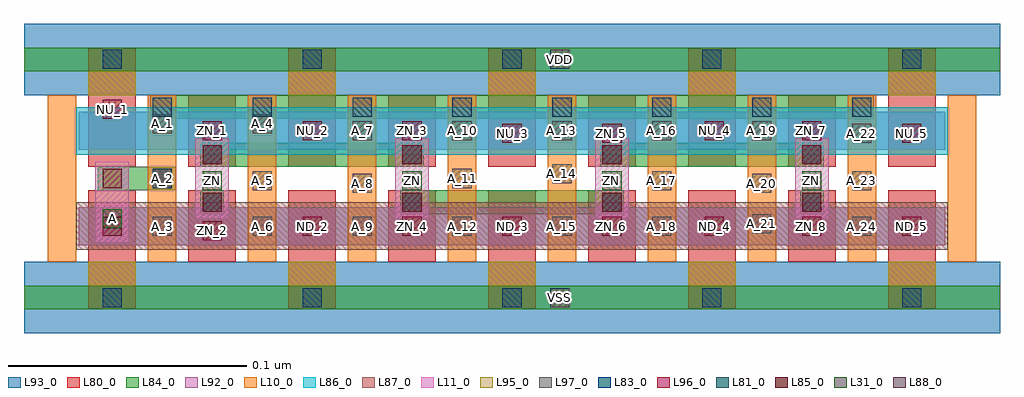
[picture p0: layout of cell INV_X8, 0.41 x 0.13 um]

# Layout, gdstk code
import gdstk
lib = gdstk.Library(unit=1e-6, precision=1e-09)
def R(c, l, rs):  # rectangles x0, y0, x1, y1
    for r in rs: c.add(gdstk.rectangle(r[:2], r[2:], *l))
def A(c, l, x, y, w, h, nx, ny, dx, dy):  # array of equal rectangles
    R(c, l, [(x+i*dx, y+j*dy, x+i*dx+w, y+j*dy+h) for i in range(nx) for j in range(ny)])
L10_0 = (10, 0)
L11_0 = (11, 0)
L31_0 = (31, 0)
L80_0 = (80, 0)
L81_0 = (81, 0)
L83_0 = (83, 0)
L84_0 = (84, 0)
L85_0 = (85, 0)
L86_0 = (86, 0)
L87_0 = (87, 0)
L88_0 = (88, 0)
L92_0 = (92, 0)
L93_0 = (93, 0)
L95_0 = (95, 0)
L96_0 = (96, 0)
L97_0 = (97, 0)

inv_x8 = lib.new_cell('INV_X8')
A(inv_x8, L10_0, -0.027, 0.015, 0.012, 0.07, 10, 1, 0.042, 0)
A(inv_x8, L11_0, 0.035, 0.033, 0.014, 0.034, 4, 1, 0.084, 0)
R(inv_x8, L11_0, [(-0.007,0.023,0.007,0.057)])
A(inv_x8, L31_0, 0.038, 0.045, 0.008, 0.008, 4, 1, 0.084, 0)
R(inv_x8, L31_0, [(-0.004,0.029,0.004,0.037)])
A(inv_x8, L80_0, -0.01, -0.005, 0.02, 0.03, 5, 2, 0.084, 0.08)
A(inv_x8, L80_0, -0.01, 0.015, 0.02, 0.03, 9, 2, 0.042, 0.04)
A(inv_x8, L81_0, 0.017, 0.076, 0.008, 0.008, 8, 1, 0.042, 0)
R(inv_x8, L81_0, [(0.017,0.046,0.025,0.054)])
A(inv_x8, L83_0, -0.004, -0.004, 0.008, 0.008, 5, 2, 0.084, 0.1)
A(inv_x8, L83_0, 0.038, 0.036, 0.008, 0.008, 4, 2, 0.084, 0.02)
A(inv_x8, L84_0, 0.121, 0.035, 0.031, 0.01, 4, 1, 0.021, 0)
A(inv_x8, L84_0, 0.037, 0.055, 0.031, 0.01, 4, 1, 0.021, 0)
A(inv_x8, L84_0, 0.205, 0.055, 0.031, 0.01, 4, 1, 0.021, 0)
A(inv_x8, L84_0, 0.016, 0.075, 0.031, 0.01, 14, 1, 0.021, 0)
R(inv_x8, L84_0, [(-0.037,-0.005,0.373,0.005), (0.037,0.035,0.047,0.045), (0.289,0.035,0.299,0.045), (-0.006,0.045,0.027,0.055), (-0.037,0.095,0.373,0.105)])
A(inv_x8, L85_0, 0.038, 0.036, 0.008, 0.008, 4, 2, 0.084, 0.02)
R(inv_x8, L85_0, [(-0.004,0.046,0.004,0.054)])
R(inv_x8, L86_0, [(-0.015,0.06,0.351,0.08)])
R(inv_x8, L87_0, [(-0.015,0.02,0.351,0.04)])
R(inv_x8, L88_0, [(0.184,-0.004,0.192,0.004), (0.184,0.096,0.192,0.104)])
R(inv_x8, L92_0, [(-0.014,0.022,0.35,0.038), (-0.014,0.062,0.35,0.078)])
R(inv_x8, L93_0, [(-0.037,-0.015,0.373,0.015), (-0.037,0.085,0.373,0.115)])
A(inv_x8, L95_0, -0.01, 0.005, 0.02, 0.01, 5, 2, 0.084, 0.08)
A(inv_x8, L96_0, 0.08, 0.026, 0.008, 0.008, 4, 1, 0.042, 0)
A(inv_x8, L96_0, 0.038, 0.066, 0.008, 0.008, 3, 1, 0.042, 0)
R(inv_x8, L96_0, [(0.038,0.024,0.046,0.032), (-0.004,0.026,0.004,0.034), (0.249,0.026,0.257,0.034), (0.29,0.026,0.298,0.034), (0.332,0.026,0.34,0.034), (0.164,0.065,0.172,0.073), (0.206,0.065,0.214,0.073), (0.332,0.065,0.34,0.073), (0.249,0.066,0.257,0.074), (0.29,0.066,0.298,0.074), (-0.004,0.075,0.004,0.083)])
A(inv_x8, L97_0, 0.017, 0.026, 0.008, 0.008, 6, 1, 0.042, 0)
A(inv_x8, L97_0, 0.101, 0.066, 0.008, 0.008, 5, 1, 0.042, 0)
R(inv_x8, L97_0, [(0.311,0.026,0.319,0.034), (0.269,0.027,0.277,0.035), (0.101,0.044,0.109,0.052), (0.269,0.044,0.277,0.052), (0.059,0.045,0.067,0.053), (0.227,0.045,0.235,0.053), (0.311,0.045,0.319,0.053), (0.017,0.046,0.025,0.054), (0.143,0.046,0.151,0.054), (0.185,0.048,0.193,0.056), (0.311,0.065,0.319,0.073), (0.017,0.069,0.025,0.077), (0.059,0.069,0.067,0.077)])
inv_x8.add(gdstk.Label('A', (0,0.033), layer=31, texttype=0))
inv_x8.add(gdstk.Label('ZN', (0.042,0.049), layer=31, texttype=0))
inv_x8.add(gdstk.Label('ZN', (0.126,0.049), layer=31, texttype=0))
inv_x8.add(gdstk.Label('ZN', (0.21,0.049), layer=31, texttype=0))
inv_x8.add(gdstk.Label('ZN', (0.294,0.049), layer=31, texttype=0))
inv_x8.add(gdstk.Label('A_1', (0.021,0.073), layer=97, texttype=0))
inv_x8.add(gdstk.Label('A_2', (0.021,0.05), layer=97, texttype=0))
inv_x8.add(gdstk.Label('A_3', (0.021,0.03), layer=97, texttype=0))
inv_x8.add(gdstk.Label('A_4', (0.063,0.073), layer=97, texttype=0))
inv_x8.add(gdstk.Label('A_5', (0.063,0.049), layer=97, texttype=0))
inv_x8.add(gdstk.Label('A_6', (0.063,0.03), layer=97, texttype=0))
inv_x8.add(gdstk.Label('A_7', (0.105,0.07), layer=97, texttype=0))
inv_x8.add(gdstk.Label('A_8', (0.105,0.048), layer=97, texttype=0))
inv_x8.add(gdstk.Label('A_9', (0.105,0.03), layer=97, texttype=0))
inv_x8.add(gdstk.Label('A_10', (0.147,0.07), layer=97, texttype=0))
inv_x8.add(gdstk.Label('A_11', (0.147,0.05), layer=97, texttype=0))
inv_x8.add(gdstk.Label('A_12', (0.147,0.03), layer=97, texttype=0))
inv_x8.add(gdstk.Label('A_13', (0.189,0.07), layer=97, texttype=0))
inv_x8.add(gdstk.Label('A_14', (0.189,0.052), layer=97, texttype=0))
inv_x8.add(gdstk.Label('A_15', (0.189,0.03), layer=97, texttype=0))
inv_x8.add(gdstk.Label('A_16', (0.231,0.07), layer=97, texttype=0))
inv_x8.add(gdstk.Label('A_17', (0.231,0.049), layer=97, texttype=0))
inv_x8.add(gdstk.Label('A_18', (0.231,0.03), layer=97, texttype=0))
inv_x8.add(gdstk.Label('A_19', (0.273,0.07), layer=97, texttype=0))
inv_x8.add(gdstk.Label('A_20', (0.273,0.048), layer=97, texttype=0))
inv_x8.add(gdstk.Label('A_21', (0.273,0.031), layer=97, texttype=0))
inv_x8.add(gdstk.Label('A_22', (0.315,0.069), layer=97, texttype=0))
inv_x8.add(gdstk.Label('A_23', (0.315,0.049), layer=97, texttype=0))
inv_x8.add(gdstk.Label('A_24', (0.315,0.03), layer=97, texttype=0))
inv_x8.add(gdstk.Label('ZN_1', (0.042,0.07), layer=96, texttype=0))
inv_x8.add(gdstk.Label('ZN_2', (0.042,0.028), layer=96, texttype=0))
inv_x8.add(gdstk.Label('NU_1', (0,0.079), layer=96, texttype=0))
inv_x8.add(gdstk.Label('ND_1', (0,0.03), layer=96, texttype=0))
inv_x8.add(gdstk.Label('ND_2', (0.084,0.03), layer=96, texttype=0))
inv_x8.add(gdstk.Label('NU_2', (0.084,0.07), layer=96, texttype=0))
inv_x8.add(gdstk.Label('ZN_3', (0.126,0.07), layer=96, texttype=0))
inv_x8.add(gdstk.Label('ZN_4', (0.126,0.03), layer=96, texttype=0))
inv_x8.add(gdstk.Label('ND_3', (0.168,0.03), layer=96, texttype=0))
inv_x8.add(gdstk.Label('NU_3', (0.168,0.069), layer=96, texttype=0))
inv_x8.add(gdstk.Label('ZN_5', (0.21,0.069), layer=96, texttype=0))
inv_x8.add(gdstk.Label('ZN_6', (0.21,0.03), layer=96, texttype=0))
inv_x8.add(gdstk.Label('ND_4', (0.253,0.03), layer=96, texttype=0))
inv_x8.add(gdstk.Label('NU_4', (0.253,0.07), layer=96, texttype=0))
inv_x8.add(gdstk.Label('ZN_7', (0.294,0.07), layer=96, texttype=0))
inv_x8.add(gdstk.Label('ZN_8', (0.294,0.03), layer=96, texttype=0))
inv_x8.add(gdstk.Label('ND_5', (0.336,0.03), layer=96, texttype=0))
inv_x8.add(gdstk.Label('NU_5', (0.336,0.069), layer=96, texttype=0))
inv_x8.add(gdstk.Label('VDD', (0.188,0.1), layer=88, texttype=0))
inv_x8.add(gdstk.Label('VSS', (0.188,0), layer=88, texttype=0))

lib.write_gds('INV_X8.gds')
